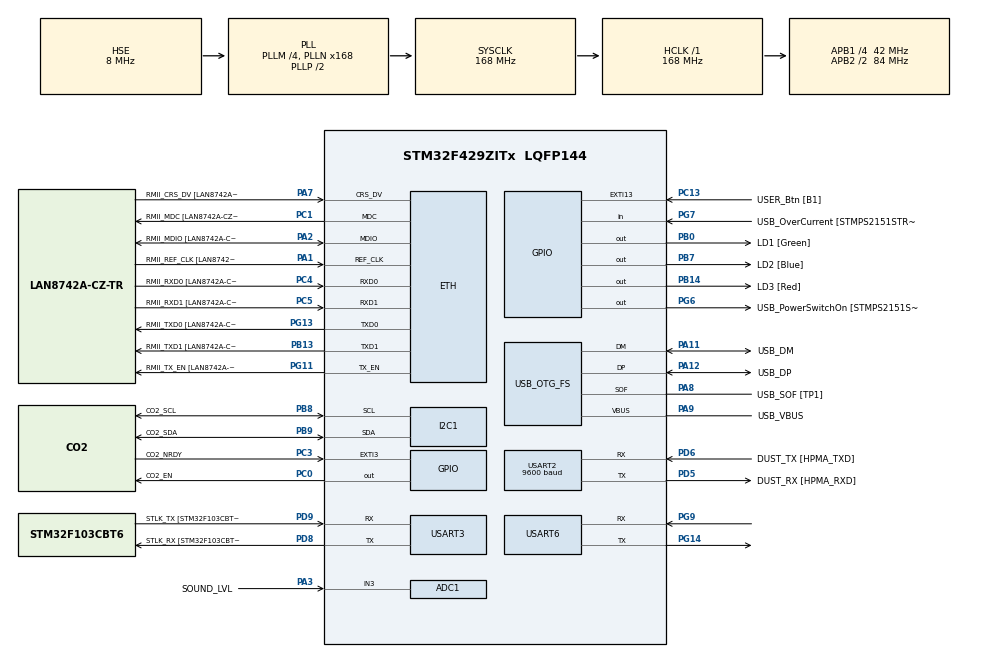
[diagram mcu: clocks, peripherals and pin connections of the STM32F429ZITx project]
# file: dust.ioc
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ADC1.Channel-1\#ChannelRegularConversion=ADC_CHANNEL_TEMPSENSOR
ADC1.Channel-2\#ChannelRegularConversion=ADC_CHANNEL_VREFINT
ADC1.NbrOfConversion=2
ADC1.NbrOfConversionFlag=1
ADC1.Rank-1\#ChannelRegularConversion=1
ADC1.Rank-2\#ChannelRegularConversion=2
ADC1.SamplingTime-1\#ChannelRegularConversion=ADC_SAMPLETIME_3CYCLES
ADC1.SamplingTime-2\#ChannelRegularConversion=ADC_SAMPLETIME_3CYCLES
ADC1.master=1
ETH.MediaInterface=ETH_MEDIA_INTERFACE_RMII
ETH.PHY_Name=LAN8742A_PHY_ADDRESS
ETH.PHY_Value=0
ETH.PhyAddress=0
LWIP.Version=v2.1.2_Cube
Mcu.Family=STM32F4
Mcu.Name=STM32F429ZITx
Mcu.Package=LQFP144
NVIC.ADC_IRQn=true\:0\:0\:false\:false\:true\:true\:true
NVIC.ETH_IRQn=true\:0\:0\:false\:false\:true\:true\:true
NVIC.ETH_WKUP_IRQn=true\:0\:0\:false\:false\:true\:true\:true
NVIC.EXTI15_10_IRQn=true\:0\:0\:false\:false\:true\:true\:true
NVIC.OTG_FS_IRQn=true\:0\:0\:false\:false\:true\:true\:true
NVIC.PriorityGroup=NVIC_PRIORITYGROUP_4
NVIC.RTC_Alarm_IRQn=true\:0\:0\:false\:false\:true\:true\:true
NVIC.USART2_IRQn=true\:0\:0\:false\:false\:true\:true\:true
NVIC.USART6_IRQn=true\:0\:0\:false\:false\:true\:true\:true
PA1.GPIO_Label=RMII_REF_CLK [LAN8742A-CZ-TR_REFCLK0]
PA1.Mode=RMII
PA1.Signal=ETH_REF_CLK
PA10.GPIO_Label=USB_ID
PA10.Signal=USB_OTG_FS_ID
PA11.GPIO_Label=USB_DM
PA11.Mode=Device_Only
PA11.Signal=USB_OTG_FS_DM
PA12.GPIO_Label=USB_DP
PA12.Mode=Device_Only
PA12.Signal=USB_OTG_FS_DP
PA13.GPIO_Label=TMS
PA13.Mode=Serial_Wire
PA13.Signal=SYS_JTMS-SWDIO
PA14.GPIO_Label=TCK
PA14.Mode=Serial_Wire
PA14.Signal=SYS_JTCK-SWCLK
PA2.GPIO_Label=RMII_MDIO [LAN8742A-CZ-TR_MDIO]
PA2.Mode=RMII
PA2.Signal=ETH_MDIO
PA3.GPIO_Label=SOUND_LVL
PA3.Signal=ADCx_IN3
PA7.GPIO_Label=RMII_CRS_DV [LAN8742A-CZ-TR_CRS_DV]
PA7.Mode=RMII
PA7.Signal=ETH_CRS_DV
PA8.GPIO_Label=USB_SOF [TP1]
PA8.Mode=Activate_SOF_FS
PA8.Signal=USB_OTG_FS_SOF
PA9.GPIO_Label=USB_VBUS
PA9.Mode=Activate_VBUS
PA9.Signal=USB_OTG_FS_VBUS
PB0.GPIO_Label=LD1 [Green]
PB0.Signal=GPIO_Output
PB13.GPIO_Label=RMII_TXD1 [LAN8742A-CZ-TR_TXD1]
PB13.Mode=RMII
PB13.Signal=ETH_TXD1
PB14.GPIO_Label=LD3 [Red]
PB14.Signal=GPIO_Output
PB7.GPIO_Label=LD2 [Blue]
PB7.Signal=GPIO_Output
PB8.GPIO_Label=CO2_SCL
PB8.Mode=I2C
PB8.Signal=I2C1_SCL
PB9.GPIO_Label=CO2_SDA
PB9.Mode=I2C
PB9.Signal=I2C1_SDA
PC0.GPIO_Label=CO2_EN
PC0.PinState=GPIO_PIN_SET
PC0.Signal=GPIO_Output
PC1.GPIO_Label=RMII_MDC [LAN8742A-CZ-TR_MDC]
PC1.Mode=RMII
PC1.Signal=ETH_MDC
PC13.GPIO_Label=USER_Btn [B1]
PC13.Signal=GPXTI13
PC14/OSC32_IN.Mode=LSE-External-Oscillator
PC14/OSC32_IN.Signal=RCC_OSC32_IN
PC15/OSC32_OUT.Mode=LSE-External-Oscillator
PC15/OSC32_OUT.Signal=RCC_OSC32_OUT
PC3.GPIO_Label=CO2_NRDY
PC3.GPIO_ModeDefaultEXTI=GPIO_MODE_IT_FALLING
PC3.Signal=GPXTI3
PC4.GPIO_Label=RMII_RXD0 [LAN8742A-CZ-TR_RXD0]
PC4.Mode=RMII
PC4.Signal=ETH_RXD0
PC5.GPIO_Label=RMII_RXD1 [LAN8742A-CZ-TR_RXD1]
PC5.Mode=RMII
PC5.Signal=ETH_RXD1
PD5.GPIO_Label=DUST_RX [HPMA_RXD]
PD5.Mode=Asynchronous
PD5.Signal=USART2_TX
PD6.GPIO_Label=DUST_TX [HPMA_TXD]
PD6.Mode=Asynchronous
PD6.Signal=USART2_RX
PD8.GPIO_Label=STLK_RX [STM32F103CBT6_PA3]
PD8.Mode=Asynchronous
PD8.Signal=USART3_TX
PD9.GPIO_Label=STLK_TX [STM32F103CBT6_PA2]
PD9.Mode=Asynchronous
PD9.Signal=USART3_RX
PG11.GPIO_Label=RMII_TX_EN [LAN8742A-CZ-TR_TXEN]
PG11.Mode=RMII
PG11.Signal=ETH_TX_EN
PG13.GPIO_Label=RMII_TXD0 [LAN8742A-CZ-TR_TXD0]
PG13.Mode=RMII
PG13.Signal=ETH_TXD0
PG14.Mode=Asynchronous
PG14.Signal=USART6_TX
PG6.GPIO_Label=USB_PowerSwitchOn [STMPS2151STR_EN]
PG6.Signal=GPIO_Output
PG7.GPIO_Label=USB_OverCurrent [STMPS2151STR_FAULT]
PG7.Signal=GPIO_Input
PG9.Mode=Asynchronous
PG9.Signal=USART6_RX
PH0/OSC_IN.GPIO_Label=MCO [STM32F103CBT6_PA8]
PH0/OSC_IN.Mode=HSE-External-Clock-Source
PH0/OSC_IN.Signal=RCC_OSC_IN
PH1/OSC_OUT.Mode=HSE-External-Clock-Source
PH1/OSC_OUT.Signal=RCC_OSC_OUT
ProjectManager.HeapSize=0x200
ProjectManager.StackSize=0x400
ProjectManager.TargetToolchain=STM32CubeIDE
RCC.48MHZClocksFreq_Value=48000000
RCC.AHBFreq_Value=168000000
RCC.APB1CLKDivider=RCC_HCLK_DIV4
RCC.APB1Freq_Value=42000000
RCC.APB1TimFreq_Value=84000000
RCC.APB2CLKDivider=RCC_HCLK_DIV2
RCC.APB2Freq_Value=84000000
RCC.APB2TimCLKDivider=2
RCC.APB2TimFreq_Value=168000000
RCC.CortexFreq_Value=168000000
RCC.HCLKFreq_Value=168000000
RCC.HSE_VALUE=8000000
RCC.HSI_VALUE=16000000
RCC.PLLM=4
RCC.PLLMUL=RCC_PLL_MUL9
RCC.PLLN=168
RCC.PLLQ=7
RCC.PRESCALERUSB=RCC_USBCLKSOURCE_PLL_DIV1_5
RCC.SYSCLKFreq_VALUE=168000000
RCC.SYSCLKSource=RCC_SYSCLKSOURCE_PLLCLK
RCC.SYSCLKSourceVirtual=RCC_SYSCLKSOURCE_PLLCLK
RCC.USBFreq_Value=48000000
RCC.VCOOutputFreq_Value=336000000
RTC.Alarm=RTC_ALARM_A
SH.ADCx_IN3.0=ADC1_IN3,IN3
STMicroelectronics.X-CUBE-GNSS1.4.1.0.STM32CubeIiCustomIiBSPIiDriversCcBoardOoSupportJjCustomJjGNSS=true
STMicroelectronics.X-CUBE-GNSS1.4.1.0.XAaNUCLEOAaGNSS1A1CcDeviceJjApplication=GetPos
STMicroelectronics.X-CUBE-GNSS1.4.1.0.libIignssCcDataOoExchangeJjInterface=Basic
STMicroelectronics.X-CUBE-GNSS1.4.1.0.libIignssCcDataOoExchangeJjLibGNSS=true
STMicroelectronics.X-CUBE-GNSS1.4.1.0.libIignssCcDataOoExchangeJjLibNMEA=true
STMicroelectronics.X-CUBE-MEMS1.7.1.0.ApplicationCcDeviceJjApplication=DataLogTerminal
STMicroelectronics.X-CUBE-MEMS1.7.1.0.STM32CubeIiCustomIiBSPIiDriversCcBoardOoSupportJjCustomJjENVIiSENSOR=true
USART2.BaudRate=9600
USART2.VirtualMode=VM_ASYNC
USART3.VirtualMode=VM_ASYNC
USART6.VirtualMode=VM_ASYNC
USB_DEVICE.CLASS_NAME_FS=CDC
USB_DEVICE.VirtualMode-CDC_FS=Cdc
USB_DEVICE.VirtualModeFS=Cdc_FS
USB_OTG_FS.VirtualMode=Device_Only
VP_ADC1_TempSens_Input.Mode=IN-TempSens
VP_ADC1_Vref_Input.Mode=IN-Vrefint
VP_LWIP_VS_Enabled.Mode=Enabled
VP_RTC_VS_RTC_Activate.Mode=RTC_Enabled
VP_RTC_VS_RTC_Alarm_A_Intern.Mode=Alarm A
VP_RTC_VS_RTC_Calendar.Mode=RTC_Calendar
VP_USB_DEVICE_VS_USB_DEVICE_CDC_FS.Mode=CDC_FS
board=NUCLEO-F429ZI

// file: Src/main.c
/* USER CODE BEGIN Header */
/**
  ******************************************************************************
  * @file           : main.c
  * @brief          : Main program body
  ******************************************************************************
  * @attention
  *
  * <h2><center>&copy; Copyright (c) 2020 STMicroelectronics.
  * All rights reserved.</center></h2>
  *
  * This software component is licensed by ST under Ultimate Liberty license
  * SLA0044, the "License"; You may not use this file except in compliance with
  * the License. You may obtain a copy of the License at:
  *                             www.st.com/SLA0044
  *
  ******************************************************************************
  */
/* USER CODE END Header */

#include "main.h"
#include "lwip.h"
#include "usb_device.h"

/* USER CODE BEGIN Includes */
#include "stm32f4xx_Nucleo_144.h"
#include "dust.h"
#include "WiMOD_LoRaWAN_API.h"
#include "co2.h"
#include "soundlvl.h"
/* USER CODE END Includes */

ADC_HandleTypeDef hadc1;

I2C_HandleTypeDef hi2c1;

RTC_HandleTypeDef hrtc;

UART_HandleTypeDef huart2;
UART_HandleTypeDef huart3;
UART_HandleTypeDef huart6;

/* USER CODE BEGIN PV */
extern uint8_t UsartTextString;
extern SOUNDLVL_t sl_sensor;
/* USER CODE END PV */

void SystemClock_Config(void);
static void MX_GPIO_Init(void);
static void MX_ADC1_Init(void);
static void MX_RTC_Init(void);
static void MX_USART2_UART_Init(void);
static void MX_USART3_UART_Init(void);
static void MX_I2C1_Init(void);
static void MX_USART6_UART_Init(void);
/* USER CODE BEGIN PFP */
void WiMOD_init( void );
/* USER CODE END PFP */

/* USER CODE BEGIN 0 */
void WiMOD_init( void ) {
	Ping();
	HAL_Delay(200);
	Deactivate();
	HAL_Delay(500);
	GetDeviceInfo();
	HAL_Delay(500);
	SetOPMODE();
	HAL_Delay(500);
	SetRadioStack();
	HAL_Delay(500);
}
/* USER CODE END 0 */

int main(void)
{
  /* USER CODE BEGIN 1 */
	uint32_t count = 0;
	uint16_t co2;
	uint16_t temperature;
	uint16_t pm2_5;
	uint16_t pm10;
	uint8_t buf[10];
  /* USER CODE END 1 */

  /* MCU Configuration--------------------------------------------------------*/

  /* Reset of all peripherals, Initializes the Flash interface and the Systick. */
  HAL_Init();

  /* Configure the system clock */
  SystemClock_Config();

  /* Initialize all configured peripherals */
  MX_GPIO_Init();
  MX_ADC1_Init();
  MX_RTC_Init();
  MX_USART2_UART_Init();
  MX_USART3_UART_Init();
  MX_LWIP_Init();
  MX_USB_DEVICE_Init();
  MX_I2C1_Init();
  MX_USART6_UART_Init();
  /* USER CODE BEGIN 2 */
  BSP_LED_Init(LED_GREEN);
  BSP_LED_Init(LED_BLUE);
  BSP_LED_Init(LED_RED);
  BSP_PB_Init(BUTTON_USER, BUTTON_MODE_EXTI);
  Initialize(&huart2);
  CO2_Initialize(&hi2c1);
  SL_Initialize(&hadc1);
  /* USER CODE END 2 */

  /* Infinite loop */
  /* USER CODE BEGIN WHILE */
  CO2_Calibration();

  WiMOD_LoRaWAN_Init(&huart6);
  WiMOD_init();
  ActivateABP();

  while (1)
  {
	  BSP_LED_On(LED_BLUE);

	  StartMeasurement();

	  HAL_Delay(15000);
	  ReadParticle(&pm2_5, &pm10);
	  StopMeasurement();
	  CO2_StartMeasure(&co2, &temperature);

	  SL_StartMeasure(&sl_sensor);
	  BSP_LED_Off(LED_BLUE);
    /* USER CODE END WHILE */

    /* USER CODE BEGIN 3 */
	  buf[0] = pm2_5 >> 8;
	  buf[1] = pm2_5 >> 0;
	  buf[2] = pm10 >> 8;
	  buf[3] = pm10 >> 0;
	  buf[4] = co2 >> 8;
	  buf[5] = co2 >> 0;
	  buf[6] = temperature >> 8;
	  buf[7] = temperature >> 0;
	  buf[8] = sl_sensor.sound_lvl >> 8;
	  buf[9] = sl_sensor.sound_lvl >> 0;
	  printf("pm2.5: %d ug/m3; pm10: %d ug/m3 pm10: %d ppm; T=%.2f sound=%d dBA\r\n",
			  pm2_5, pm10, co2, temperature / 100.0f, sl_sensor.sound_lvl);
	  printf("SEND MSG.: len:%d\r\n", sizeof(buf));
	  SendUData(2, (uint8_t *) &buf, sizeof(buf));
	  if(count == 6000) {
		  Reactivate();
	  }
	  count++;
	  HAL_Delay(15000);
  }
  /* USER CODE END 3 */
}

void SystemClock_Config(void)
{
  RCC_OscInitTypeDef RCC_OscInitStruct = {0};
  RCC_ClkInitTypeDef RCC_ClkInitStruct = {0};
  RCC_PeriphCLKInitTypeDef PeriphClkInitStruct = {0};

  /** Configure the main internal regulator output voltage
  */
  __HAL_RCC_PWR_CLK_ENABLE();
  __HAL_PWR_VOLTAGESCALING_CONFIG(PWR_REGULATOR_VOLTAGE_SCALE1);
  /** Initializes the CPU, AHB and APB busses clocks
  */
  RCC_OscInitStruct.OscillatorType = RCC_OSCILLATORTYPE_LSI|RCC_OSCILLATORTYPE_HSE;
  RCC_OscInitStruct.HSEState = RCC_HSE_BYPASS;
  RCC_OscInitStruct.LSIState = RCC_LSI_ON;
  RCC_OscInitStruct.PLL.PLLState = RCC_PLL_ON;
  RCC_OscInitStruct.PLL.PLLSource = RCC_PLLSOURCE_HSE;
  RCC_OscInitStruct.PLL.PLLM = 4;
  RCC_OscInitStruct.PLL.PLLN = 168;
  RCC_OscInitStruct.PLL.PLLP = RCC_PLLP_DIV2;
  RCC_OscInitStruct.PLL.PLLQ = 7;
  if (HAL_RCC_OscConfig(&RCC_OscInitStruct) != HAL_OK)
  {
    Error_Handler();
  }
  /** Initializes the CPU, AHB and APB busses clocks
  */
  RCC_ClkInitStruct.ClockType = RCC_CLOCKTYPE_HCLK|RCC_CLOCKTYPE_SYSCLK
                              |RCC_CLOCKTYPE_PCLK1|RCC_CLOCKTYPE_PCLK2;
  RCC_ClkInitStruct.SYSCLKSource = RCC_SYSCLKSOURCE_PLLCLK;
  RCC_ClkInitStruct.AHBCLKDivider = RCC_SYSCLK_DIV1;
  RCC_ClkInitStruct.APB1CLKDivider = RCC_HCLK_DIV4;
  RCC_ClkInitStruct.APB2CLKDivider = RCC_HCLK_DIV2;

  if (HAL_RCC_ClockConfig(&RCC_ClkInitStruct, FLASH_LATENCY_5) != HAL_OK)
  {
    Error_Handler();
  }
  PeriphClkInitStruct.PeriphClockSelection = RCC_PERIPHCLK_RTC;
  PeriphClkInitStruct.RTCClockSelection = RCC_RTCCLKSOURCE_LSI;
  if (HAL_RCCEx_PeriphCLKConfig(&PeriphClkInitStruct) != HAL_OK)
  {
    Error_Handler();
  }
}

static void MX_ADC1_Init(void)
{

  ADC_ChannelConfTypeDef sConfig = {0};

  /** Configure the global features of the ADC (Clock, Resolution, Data Alignment and number of conversion)
  */
  hadc1.Instance = ADC1;
  hadc1.Init.ClockPrescaler = ADC_CLOCK_SYNC_PCLK_DIV4;
  hadc1.Init.Resolution = ADC_RESOLUTION_12B;
  hadc1.Init.ScanConvMode = ENABLE;
  hadc1.Init.ContinuousConvMode = DISABLE;
  hadc1.Init.DiscontinuousConvMode = DISABLE;
  hadc1.Init.ExternalTrigConvEdge = ADC_EXTERNALTRIGCONVEDGE_NONE;
  hadc1.Init.ExternalTrigConv = ADC_SOFTWARE_START;
  hadc1.Init.DataAlign = ADC_DATAALIGN_RIGHT;
  hadc1.Init.NbrOfConversion = 2;
  hadc1.Init.DMAContinuousRequests = DISABLE;
  hadc1.Init.EOCSelection = ADC_EOC_SINGLE_CONV;
  if (HAL_ADC_Init(&hadc1) != HAL_OK)
  {
    Error_Handler();
  }
  /** Configure for the selected ADC regular channel its corresponding rank in the sequencer and its sample time.
  */
  sConfig.Channel = ADC_CHANNEL_TEMPSENSOR;
  sConfig.Rank = 1;
  sConfig.SamplingTime = ADC_SAMPLETIME_3CYCLES;
  if (HAL_ADC_ConfigChannel(&hadc1, &sConfig) != HAL_OK)
  {
    Error_Handler();
  }
  /** Configure for the selected ADC regular channel its corresponding rank in the sequencer and its sample time.
  */
  sConfig.Channel = ADC_CHANNEL_VREFINT;
  sConfig.Rank = 2;
  if (HAL_ADC_ConfigChannel(&hadc1, &sConfig) != HAL_OK)
  {
    Error_Handler();
  }

}

static void MX_I2C1_Init(void)
{

  hi2c1.Instance = I2C1;
  hi2c1.Init.ClockSpeed = 100000;
  hi2c1.Init.DutyCycle = I2C_DUTYCYCLE_2;
  hi2c1.Init.OwnAddress1 = 0;
  hi2c1.Init.AddressingMode = I2C_ADDRESSINGMODE_7BIT;
  hi2c1.Init.DualAddressMode = I2C_DUALADDRESS_DISABLE;
  hi2c1.Init.OwnAddress2 = 0;
  hi2c1.Init.GeneralCallMode = I2C_GENERALCALL_DISABLE;
  hi2c1.Init.NoStretchMode = I2C_NOSTRETCH_DISABLE;
  if (HAL_I2C_Init(&hi2c1) != HAL_OK)
  {
    Error_Handler();
  }
  /** Configure Analogue filter
  */
  if (HAL_I2CEx_ConfigAnalogFilter(&hi2c1, I2C_ANALOGFILTER_ENABLE) != HAL_OK)
  {
    Error_Handler();
  }
  /** Configure Digital filter
  */
  if (HAL_I2CEx_ConfigDigitalFilter(&hi2c1, 0) != HAL_OK)
  {
    Error_Handler();
  }

}

static void MX_RTC_Init(void)
{

  RTC_TimeTypeDef sTime = {0};
  RTC_DateTypeDef sDate = {0};
  RTC_AlarmTypeDef sAlarm = {0};

  /** Initialize RTC Only
  */
  hrtc.Instance = RTC;
  hrtc.Init.HourFormat = RTC_HOURFORMAT_24;
  hrtc.Init.AsynchPrediv = 127;
  hrtc.Init.SynchPrediv = 255;
  hrtc.Init.OutPut = RTC_OUTPUT_DISABLE;
  hrtc.Init.OutPutPolarity = RTC_OUTPUT_POLARITY_HIGH;
  hrtc.Init.OutPutType = RTC_OUTPUT_TYPE_OPENDRAIN;
  if (HAL_RTC_Init(&hrtc) != HAL_OK)
  {
    Error_Handler();
  }

  /** Initialize RTC and set the Time and Date
  */
  sTime.Hours = 0x0;
  sTime.Minutes = 0x0;
  sTime.Seconds = 0x0;
  sTime.DayLightSaving = RTC_DAYLIGHTSAVING_NONE;
  sTime.StoreOperation = RTC_STOREOPERATION_RESET;
  if (HAL_RTC_SetTime(&hrtc, &sTime, RTC_FORMAT_BCD) != HAL_OK)
  {
    Error_Handler();
  }
  sDate.WeekDay = RTC_WEEKDAY_MONDAY;
  sDate.Month = RTC_MONTH_JANUARY;
  sDate.Date = 0x1;
  sDate.Year = 0x0;

  if (HAL_RTC_SetDate(&hrtc, &sDate, RTC_FORMAT_BCD) != HAL_OK)
  {
    Error_Handler();
  }
  /** Enable the Alarm A
  */
  sAlarm.AlarmTime.Hours = 0x0;
  sAlarm.AlarmTime.Minutes = 0x0;
  sAlarm.AlarmTime.Seconds = 0x0;
  sAlarm.AlarmTime.SubSeconds = 0x0;
  sAlarm.AlarmTime.DayLightSaving = RTC_DAYLIGHTSAVING_NONE;
  sAlarm.AlarmTime.StoreOperation = RTC_STOREOPERATION_RESET;
  sAlarm.AlarmMask = RTC_ALARMMASK_NONE;
  sAlarm.AlarmSubSecondMask = RTC_ALARMSUBSECONDMASK_ALL;
  sAlarm.AlarmDateWeekDaySel = RTC_ALARMDATEWEEKDAYSEL_DATE;
  sAlarm.AlarmDateWeekDay = 0x1;
  sAlarm.Alarm = RTC_ALARM_A;
  if (HAL_RTC_SetAlarm_IT(&hrtc, &sAlarm, RTC_FORMAT_BCD) != HAL_OK)
  {
    Error_Handler();
  }

}

static void MX_USART2_UART_Init(void)
{

  huart2.Instance = USART2;
  huart2.Init.BaudRate = 9600;
  huart2.Init.WordLength = UART_WORDLENGTH_8B;
  huart2.Init.StopBits = UART_STOPBITS_1;
  huart2.Init.Parity = UART_PARITY_NONE;
  huart2.Init.Mode = UART_MODE_TX_RX;
  huart2.Init.HwFlowCtl = UART_HWCONTROL_NONE;
  huart2.Init.OverSampling = UART_OVERSAMPLING_16;
  if (HAL_UART_Init(&huart2) != HAL_OK)
  {
    Error_Handler();
  }

}

static void MX_USART3_UART_Init(void)
{

  huart3.Instance = USART3;
  huart3.Init.BaudRate = 115200;
  huart3.Init.WordLength = UART_WORDLENGTH_8B;
  huart3.Init.StopBits = UART_STOPBITS_1;
  huart3.Init.Parity = UART_PARITY_NONE;
  huart3.Init.Mode = UART_MODE_TX_RX;
  huart3.Init.HwFlowCtl = UART_HWCONTROL_NONE;
  huart3.Init.OverSampling = UART_OVERSAMPLING_16;
  if (HAL_UART_Init(&huart3) != HAL_OK)
  {
    Error_Handler();
  }

}

static void MX_USART6_UART_Init(void)
{

  huart6.Instance = USART6;
  huart6.Init.BaudRate = 115200;
  huart6.Init.WordLength = UART_WORDLENGTH_8B;
  huart6.Init.StopBits = UART_STOPBITS_1;
  huart6.Init.Parity = UART_PARITY_NONE;
  huart6.Init.Mode = UART_MODE_TX_RX;
  huart6.Init.HwFlowCtl = UART_HWCONTROL_NONE;
  huart6.Init.OverSampling = UART_OVERSAMPLING_16;
  if (HAL_UART_Init(&huart6) != HAL_OK)
  {
    Error_Handler();
  }

}

static void MX_GPIO_Init(void)
{
  GPIO_InitTypeDef GPIO_InitStruct = {0};

  /* GPIO Ports Clock Enable */
  __HAL_RCC_GPIOC_CLK_ENABLE();
  __HAL_RCC_GPIOH_CLK_ENABLE();
  __HAL_RCC_GPIOA_CLK_ENABLE();
  __HAL_RCC_GPIOB_CLK_ENABLE();
  __HAL_RCC_GPIOD_CLK_ENABLE();
  __HAL_RCC_GPIOG_CLK_ENABLE();

  /*Configure GPIO pin Output Level */
  HAL_GPIO_WritePin(CO2_EN_GPIO_Port, CO2_EN_Pin, GPIO_PIN_SET);

  /*Configure GPIO pin Output Level */
  HAL_GPIO_WritePin(GPIOB, LD1_Pin|LD3_Pin|LD2_Pin, GPIO_PIN_RESET);

  /*Configure GPIO pin Output Level */
  HAL_GPIO_WritePin(USB_PowerSwitchOn_GPIO_Port, USB_PowerSwitchOn_Pin, GPIO_PIN_RESET);

  /*Configure GPIO pin : USER_Btn_Pin */
  GPIO_InitStruct.Pin = USER_Btn_Pin;
  GPIO_InitStruct.Mode = GPIO_MODE_IT_RISING;
  GPIO_InitStruct.Pull = GPIO_NOPULL;
  HAL_GPIO_Init(USER_Btn_GPIO_Port, &GPIO_InitStruct);

  /*Configure GPIO pin : CO2_EN_Pin */
  GPIO_InitStruct.Pin = CO2_EN_Pin;
  GPIO_InitStruct.Mode = GPIO_MODE_OUTPUT_PP;
  GPIO_InitStruct.Pull = GPIO_NOPULL;
  GPIO_InitStruct.Speed = GPIO_SPEED_FREQ_LOW;
  HAL_GPIO_Init(CO2_EN_GPIO_Port, &GPIO_InitStruct);

  /*Configure GPIO pin : CO2_NRDY_Pin */
  GPIO_InitStruct.Pin = CO2_NRDY_Pin;
  GPIO_InitStruct.Mode = GPIO_MODE_IT_FALLING;
  GPIO_InitStruct.Pull = GPIO_NOPULL;
  HAL_GPIO_Init(CO2_NRDY_GPIO_Port, &GPIO_InitStruct);

  /*Configure GPIO pins : LD1_Pin LD3_Pin LD2_Pin */
  GPIO_InitStruct.Pin = LD1_Pin|LD3_Pin|LD2_Pin;
  GPIO_InitStruct.Mode = GPIO_MODE_OUTPUT_PP;
  GPIO_InitStruct.Pull = GPIO_NOPULL;
  GPIO_InitStruct.Speed = GPIO_SPEED_FREQ_LOW;
  HAL_GPIO_Init(GPIOB, &GPIO_InitStruct);

  /*Configure GPIO pin : USB_PowerSwitchOn_Pin */
  GPIO_InitStruct.Pin = USB_PowerSwitchOn_Pin;
  GPIO_InitStruct.Mode = GPIO_MODE_OUTPUT_PP;
  GPIO_InitStruct.Pull = GPIO_NOPULL;
  GPIO_InitStruct.Speed = GPIO_SPEED_FREQ_LOW;
  HAL_GPIO_Init(USB_PowerSwitchOn_GPIO_Port, &GPIO_InitStruct);

  /*Configure GPIO pin : USB_OverCurrent_Pin */
  GPIO_InitStruct.Pin = USB_OverCurrent_Pin;
  GPIO_InitStruct.Mode = GPIO_MODE_INPUT;
  GPIO_InitStruct.Pull = GPIO_NOPULL;
  HAL_GPIO_Init(USB_OverCurrent_GPIO_Port, &GPIO_InitStruct);

  /* EXTI interrupt init*/
  HAL_NVIC_SetPriority(EXTI15_10_IRQn, 0, 0);
  HAL_NVIC_EnableIRQ(EXTI15_10_IRQn);

}

/* USER CODE BEGIN 4 */

void HAL_UART_RxCpltCallback(UART_HandleTypeDef *huart)
{
	BSP_LED_Toggle(LED_GREEN);
	if (huart->Instance == USART2)
	{

	}
	else if (huart->Instance == USART6)
	{
		WiMOD_LoRaWAN_Process();
		HAL_UART_Receive_IT(huart, &UsartTextString, 1);
	}
}

int __io_putchar(int ch)
{
	return HAL_UART_Transmit(&huart3, (uint8_t*) &ch, 1, 500);
}

int __io_getchar(void)
{
	uint8_t val;
	HAL_UART_Receive(&huart3, &val, 1, 1000);
	return val;
}
/* USER CODE END 4 */

void Error_Handler(void)
{
  /* USER CODE BEGIN Error_Handler_Debug */
  /* User can add his own implementation to report the HAL error return state */
	while(1) {
		BSP_LED_Toggle(LED_RED);
		HAL_Delay(500);
	}
  /* USER CODE END Error_Handler_Debug */
}

/************************ (C) COPYRIGHT STMicroelectronics *****END OF FILE****/
